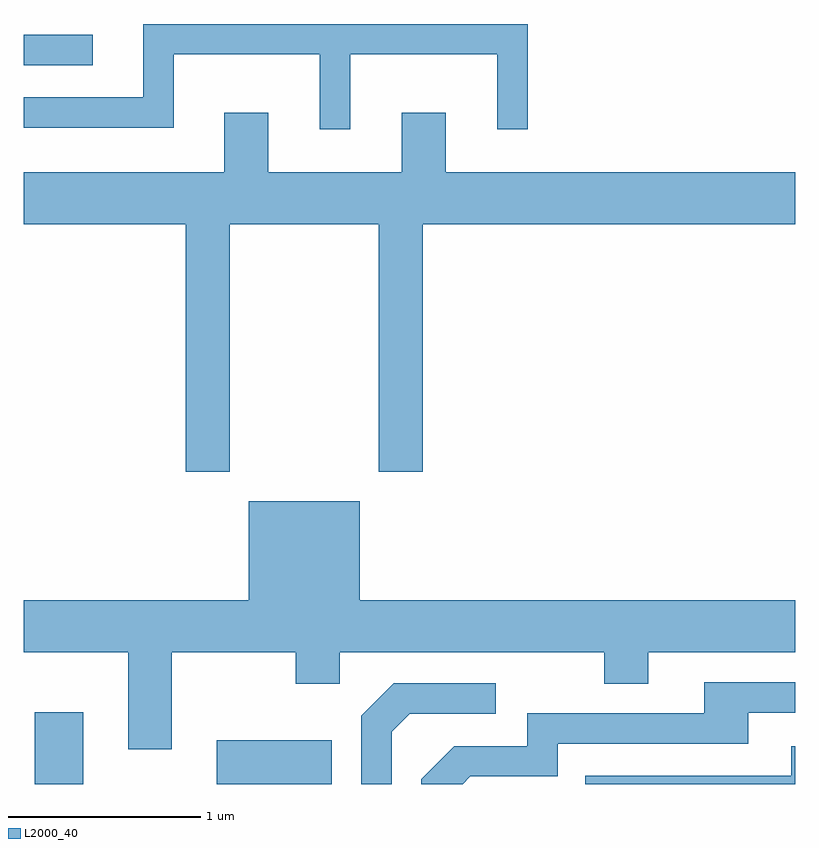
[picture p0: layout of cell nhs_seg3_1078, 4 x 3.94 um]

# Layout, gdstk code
import gdstk
lib = gdstk.Library(unit=1e-6, precision=1e-09)
def R(c, l, rs):  # rectangles x0, y0, x1, y1
    for r in rs: c.add(gdstk.rectangle(r[:2], r[2:], *l))
def P(c, l, *ps):  # polygons
    for p in ps: c.add(gdstk.Polygon(p, *l))
L2000_40 = (2000, 40)

nhs_seg3_1078 = lib.new_cell('nhs_seg3_1078')
R(nhs_seg3_1078, L2000_40, [(215.666,1231.892,215.919,1232.264), (216.611,1231.892,217.209,1232.119), (215.611,1235.621,215.968,1235.779)])
P(nhs_seg3_1078, L2000_40, [(217.304,1235.676),(218.066,1235.676),(218.066,1235.288),(218.224,1235.288),(218.224,1235.834),(216.231,1235.834),(216.231,1235.454),(215.611,1235.454),(215.611,1235.296),(216.389,1235.296),(216.389,1235.676),(217.146,1235.676),(217.146,1235.288),(217.304,1235.288)],
  [(216.679,1234.796),(217.451,1234.796),(217.451,1233.511),(217.679,1233.511),(217.679,1234.796),(219.611,1234.796),(219.611,1235.064),(217.799,1235.064),(217.799,1235.374),(217.571,1235.374),(217.571,1235.064),(216.879,1235.064),(216.879,1235.374),(216.651,1235.374),(216.651,1235.064),(215.611,1235.064),(215.611,1234.796),(216.451,1234.796),(216.451,1233.511),(216.679,1233.511)],
  [(216.379,1232.576),(217.021,1232.576),(217.021,1232.411),(217.249,1232.411),(217.249,1232.576),(218.621,1232.576),(218.621,1232.411),(218.849,1232.411),(218.849,1232.576),(219.611,1232.576),(219.611,1232.844),(217.354,1232.844),(217.354,1233.359),(216.776,1233.359),(216.776,1232.844),(215.611,1232.844),(215.611,1232.576),(216.151,1232.576),(216.151,1232.071),(216.379,1232.071)],
  [(217.927,1231.931),(218.379,1231.931),(218.379,1232.101),(219.369,1232.101),(219.369,1232.261),(219.611,1232.261),(219.611,1232.419),(219.141,1232.419),(219.141,1232.259),(218.221,1232.259),(218.221,1232.089),(217.844,1232.089),(217.671,1231.917),(217.671,1231.892),(217.888,1231.892)],
  [(217.519,1232.164),(217.612,1232.256),(218.058,1232.256),(218.058,1232.414),(217.529,1232.414),(217.361,1232.247),(217.361,1231.892),(217.519,1231.892)],
  [(219.611,1232.089),(219.591,1232.089),(219.591,1231.934),(218.523,1231.934),(218.523,1231.892),(219.611,1231.892)])

lib.write_gds('nhs_seg3_1078.gds')
